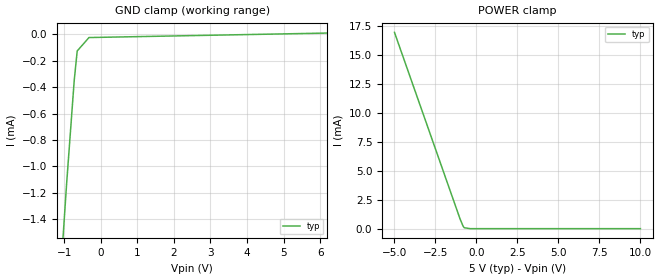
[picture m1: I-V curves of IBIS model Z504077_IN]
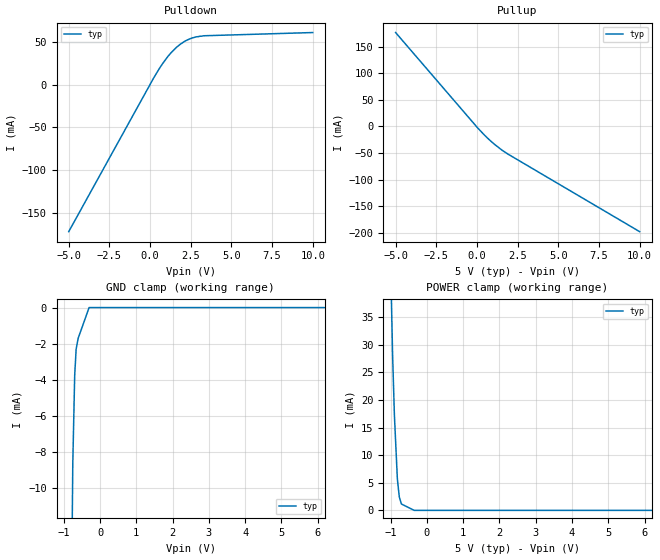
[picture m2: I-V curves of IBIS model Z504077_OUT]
| YOU ARE ONLY AUTHORIZED TO USE THIS SOFTWARE
| ACCORDING TO LICENSOR'S LICENSE RESTRICTIONS.
[IBIS Ver] 3.1
[File Name] mc54hc20j.ibs
[File Rev] 2.0
[Source] Measured and created by ICX Technology
[Date] Friday 7/14/00 9:08:06 AM
[Copyright]
| (C) COPYRIGHT 1993-2000
| MENTOR GRAPHICS CORPORATION
| ICX STANDARD LIBRARY, ICX PROJECT MODELING,
| ICX CUSTOM MODELING, ICX VENDOR MODEL
| ALL RIGHTS RESERVED.
| THE FOLLOWING ARE TRADEMARKS OR SERVICE MARKS OF
| MENTOR GRAPHICS CORPORATION:ICX (R), ICX STANDARD
| LIBRARY(R), ICX PROJECT MODELING(R), ICX CUSTOM
| MODELING(R), qualityIBIS(TM), MODELVIEWER(TM),
| AND MODELEDITOR(TM)
| ALL COPIES OF SOFTWARE, INCLUDING BUT NOT LIMITED TO
| ANY MODIFICATIONS, ENHANCEMENTS OR DERIVATIVE WORKS,
| MUST CONTAIN ALL MENTOR GRAPHICS CORPORATION'S
| NOTICES AND LEGENDS, INCLUDING THOSE EMBEDDED IN
| SOFTWARE AND THOSE AFFIXED TO SOFTWARE MEDIUM
| AND CONTAINER, AS RECEIVED FROM MENTOR GRAPHICS
| CORPORATION.
|  ZAP Model Builder 2.7
[Component] MC54HC20J
[Manufacturer] OnSemiconductor
[Package]
| variable   typ   min   max
R_pkg  .21ohms NA NA
L_pkg  4.543nH NA NA
C_pkg  1.8pF NA NA
[Pin] signal_name  model_name  R_pin  L_pin C_pin
1 A Z504077_IN .22 6.757n 2.434p
2 B Z504077_IN .212 4.757n 1.941p
3 NC NC .204 3.257n 1.448p
4 C Z504077_IN .196 2.257n .955p
5 D Z504077_IN .204 3.257n 1.448p
6 Y Z504077_OUT .212 4.757n 1.941p
7 GND GND .22 6.757n 2.434p
8 Y Z504077_OUT .22 6.757n 2.434p
9 A Z504077_IN .212 4.757n 1.941p
10 B Z504077_IN .204 3.257n 1.448p
11 NC NC .196 2.257n .955p
12 C Z504077_IN .204 3.257n 1.448p
13 D Z504077_IN .212 4.757n 1.941p
14 VCC POWER .22 6.757n 2.434p
| Models and submodels in the file (2): Z504077_IN (Input), Z504077_OUT (Output)
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| (C) COPYRIGHT 1993-2000
| MENTOR GRAPHICS CORPORATION
| ICX STANDARD LIBRARY, ICX PROJECT MODELING,
| ICX CUSTOM MODELING, ICX VENDOR MODEL
| ALL RIGHTS RESERVED.
| THE FOLLOWING ARE TRADEMARKS OR SERVICE MARKS OF
| MENTOR GRAPHICS CORPORATION:ICX (R), ICX STANDARD
| LIBRARY(R), ICX PROJECT MODELING(R), ICX CUSTOM
| MODELING(R), qualityIBIS(TM), MODELVIEWER(TM),
| AND MODELEDITOR(TM)
| ALL COPIES OF SOFTWARE, INCLUDING BUT NOT LIMITED TO
| ANY MODIFICATIONS, ENHANCEMENTS OR DERIVATIVE WORKS,
| MUST CONTAIN ALL MENTOR GRAPHICS CORPORATION'S
| NOTICES AND LEGENDS, INCLUDING THOSE EMBEDDED IN
| SOFTWARE AND THOSE AFFIXED TO SOFTWARE MEDIUM
| AND CONTAINER, AS RECEIVED FROM MENTOR GRAPHICS
| CORPORATION.
| Model Application Version 1.89 2/18/99.
[Model] Z504077_IN
Model_type Input
Vinl = 1.000V
Vinh = 3.500V
C_comp 4.000pF NA NA
| variable typ   min   max
[Voltage Range] 5.000V NA NA
[GND Clamp Reference] 0.000V NA NA
[POWER Clamp Reference] 5.000V NA NA
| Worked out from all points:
|   GND clamp passes 1 mA (typ) near -0.90 V on its own axis
[GND Clamp]
-5V       -18.07mA   NA         NA
-937.4mV  -1.144mA   NA         NA
-726.8mV  -350.6uA   NA         NA
-644.6mV  -125.4uA   NA         NA
-322.3mV  -23.54uA   NA         NA
10V       30.43uA    NA         NA
[POWER Clamp]
-5V       16.92mA    NA         NA
-1.001V   843.6uA    NA         NA
-827mV    250.7uA    NA         NA
-747mV    78.13uA    NA         NA
-373.5mV  0A         NA         NA
10V       0A         NA         NA
| (C) COPYRIGHT 1993-2000
| MENTOR GRAPHICS CORPORATION
| ICX STANDARD LIBRARY, ICX PROJECT MODELING,
| ICX CUSTOM MODELING, ICX VENDOR MODEL
| ALL RIGHTS RESERVED.
| THE FOLLOWING ARE TRADEMARKS OR SERVICE MARKS OF
| MENTOR GRAPHICS CORPORATION:ICX (R), ICX STANDARD
| LIBRARY(R), ICX PROJECT MODELING(R), ICX CUSTOM
| MODELING(R), qualityIBIS(TM), MODELVIEWER(TM),
| AND MODELEDITOR(TM)
| ALL COPIES OF SOFTWARE, INCLUDING BUT NOT LIMITED TO
| ANY MODIFICATIONS, ENHANCEMENTS OR DERIVATIVE WORKS,
| MUST CONTAIN ALL MENTOR GRAPHICS CORPORATION'S
| NOTICES AND LEGENDS, INCLUDING THOSE EMBEDDED IN
| SOFTWARE AND THOSE AFFIXED TO SOFTWARE MEDIUM
| AND CONTAINER, AS RECEIVED FROM MENTOR GRAPHICS
| CORPORATION.
| Model Application Version 1.89 2/18/99.
[Model] Z504077_OUT
Model_type Output
Vref=0.000V
Rref=500.0Mohms
Cref=50.00pF
Vmeas=2.500V
C_comp 8.000pF NA NA
| variable typ   min   max
[Voltage Range] 5.000V NA NA
[POWER Clamp Reference] 5.000V NA NA
[Pullup Reference] 5.000V NA NA
[Pulldown Reference] 0.000V NA NA
[GND Clamp Reference] 0.000V NA NA
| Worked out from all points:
|   slope of the pulldown table from 0 to 0.75 V, typ, clamps not added: 31.5 ohm
|   slope of the pullup table from 0 to 0.75 V, typ, clamps not added: 31.7 ohm
[GND Clamp]
-5V       -757.9mA   NA         NA
-1.016V   -65.79mA   NA         NA
-751.7mV  -8.653mA   NA         NA
-699.3mV  -3.768mA   NA         NA
-659.2mV  -2.309mA   NA         NA
-603.6mV  -1.704mA   NA         NA
-301.8mV  0A         NA         NA
10V       0A         NA         NA
[Pulldown]
-5V       -172.1mA   NA         NA
200.8mV   6.999mA    NA         NA
569.7mV   18.72mA    NA         NA
1.108V    33.17mA    NA         NA
1.618V    43.45mA    NA         NA
2.145V    50.79mA    NA         NA
2.442V    53.48mA    NA         NA
3.296V    57.06mA    NA         NA
10V       60.84mA    NA         NA
[Pullup]
-5V       176.9mA    NA         NA
41mV      -2.561mA   NA         NA
488mV     -17.01mA   NA         NA
776mV     -25.5mA    NA         NA
1.064V    -33.2mA    NA         NA
1.553V    -44.86mA   NA         NA
1.924V    -52.31mA   NA         NA
10V       -198mA     NA         NA
[POWER Clamp]
-5V       1.289A     NA         NA
-947mV    28.27mA    NA         NA
-897mV    17.28mA    NA         NA
-815mV    5.678mA    NA         NA
-762mV    2.435mA    NA         NA
-703mV    1.145mA    NA         NA
-351.5mV  0A         NA         NA
10V       0A         NA         NA
[Ramp]
| variable typ min max
dV/dt_r 2.848/1.114n NA NA
dV/dt_f 2.848/1.745n NA NA
R_load = 500.0Ohms
